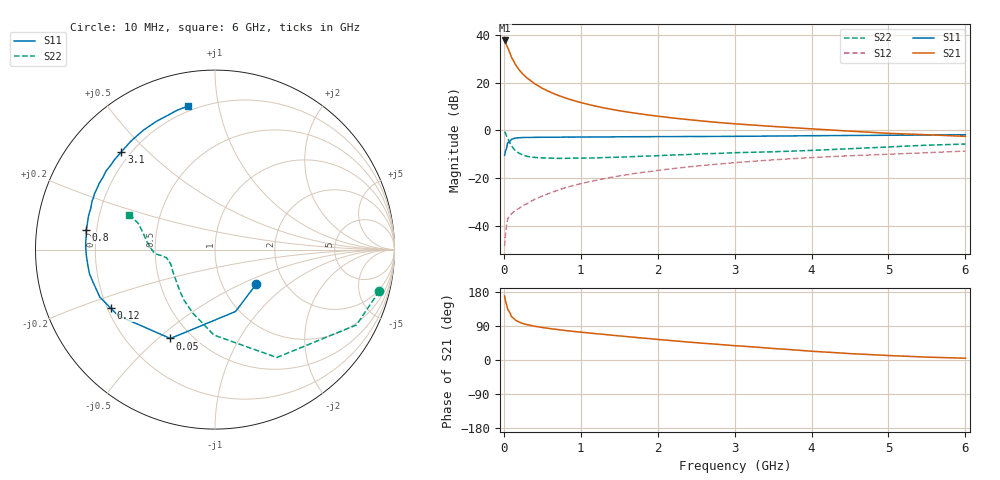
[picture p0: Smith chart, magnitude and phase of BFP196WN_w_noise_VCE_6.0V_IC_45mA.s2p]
! Infineon Technologies  Discrete & RF Semiconductors
! BFP196WN
! VCE =  6.0 V,  IC =  45 mA
! Common Emitter S-Parameters:  Jan 2017
# GHz  S  MA  R  50
!  f  S11  S21  S12  S22
! GHz  MAG  ANG  MAG  ANG  MAG  ANG  MAG  ANG
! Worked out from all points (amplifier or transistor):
!   77 points, 10 MHz to 6 GHz, reference 50 ohm
!   highest |S21| = 37.8 dB at 10 MHz (marker M1)
!   |S21| within 3 dB of that: start of sweep to 49.98 MHz
!   unconditionally stable (mu >= 1): 653.1 MHz to 2.711 GHz
!   at 130 MHz: K = 0.51, MSG = 31.6 dB, |S12| = -34.1 dB
!   at 2.2 GHz: K = 1.02, MAG = 9.7 dB, |S12| = -16.0 dB
!   at 6 GHz: K = 0.91, MSG = 3.1 dB, |S12| = -8.7 dB
!   lowest NFmin = 1.22 dB at 450 MHz
!   S11 on the Smith chart (normalised r, x): 10 MHz: 1.44, -0.61; 50 MHz: 0.38, -0.55; 120 MHz: 0.21, -0.25; 800 MHz: 0.16, +0.07; 3.1 GHz: 0.17, +0.42; 6 GHz: 0.17, +0.81
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0.01  0.2999 -40.0  77.98 168.8  0.0037 76.5  0.9437 -14.2
0.02  0.3635 -71.7  72.22 157.1  0.0063 73.8  0.8934 -28.0
0.05  0.5544 -116.7  55.2 133.2  0.0138 53.2  0.6926 -60.2
0.1  0.6529 -145.7  34.4 114.2  0.0177 48.3  0.4762 -90.7
0.12  0.666 -150.6  30.33 111.3  0.019 47.9  0.431 -97.0
0.15  0.6943 -157.6  24.43 105.3  0.021 47.4  0.3756 -109.0
0.2  0.7026 -164.7  18.69 99.9  0.0232 50.7  0.3303 -121.5
0.25  0.7121 -169.0  15.12 96.1  0.0266 53.7  0.3042 -129.8
0.3  0.7138 -172.5  12.68 93.3  0.0288 55.8  0.2862 -136.8
0.4  0.7173 -177.2  9.6 89.0  0.0356 60.4  0.2713 -145.6
0.5  0.7204 179.1  7.694 85.7  0.0418 63.1  0.2655 -151.9
0.6  0.7216 176.3  6.434 82.9  0.0486 64.3  0.2624 -156.5
0.7  0.7213 173.8  5.508 80.4  0.0553 66.3  0.2592 -159.4
0.8  0.7259 171.3  4.827 77.8  0.0626 67.3  0.2599 -161.6
0.9  0.7249 169.3  4.285 75.5  0.0694 66.8  0.2618 -163.5
1.1  0.729 165.3  3.52 71.4  0.0831 67.8  0.2635 -166.7
1.5  0.7362 158.5  2.603 63.6  0.1109 66.5  0.2746 -170.6
2.1  0.7428 148.9  1.911 52.6  0.1514 63.1  0.3003 -173.7
3.1  0.754 133.8  1.347 36.5  0.2163 55.6  0.3441 -178.1
4.1  0.7773 119.5  1.058 21.9  0.2741 47.3  0.3873 172.0
5.1  0.7948 108.6  0.859 11.0  0.3215 39.8  0.4579 160.8
6  0.8137 100.7  0.752 4.7  0.3692 33.8  0.5187 158.0
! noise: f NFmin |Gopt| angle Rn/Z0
0.45  1.22  0.52  -178  0.05
0.9  1.34  0.55  -172  0.05
1.9  2.26  0.68  -148  0.14
2.4  2.99  0.69  -141  0.27
